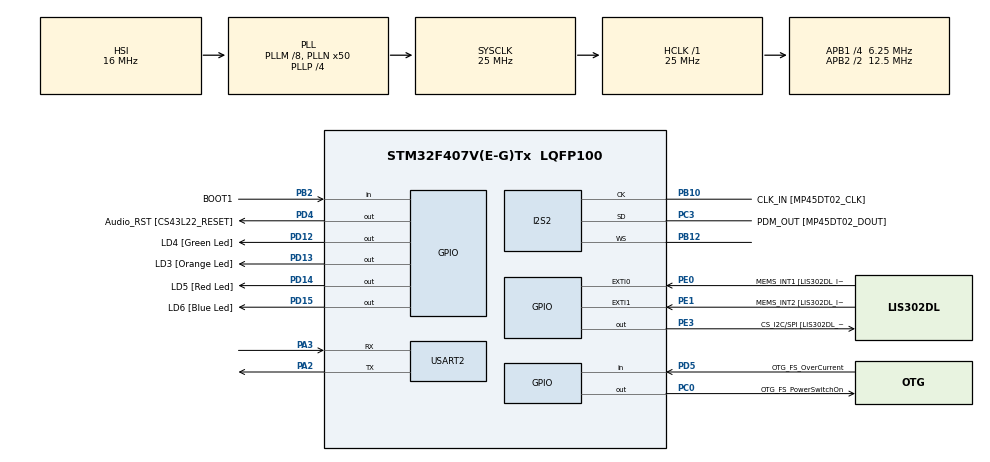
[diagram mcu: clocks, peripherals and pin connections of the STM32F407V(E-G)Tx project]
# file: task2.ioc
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I2S2.AudioFreq=I2S_AUDIOFREQ_192K
I2S2.ErrorAudioFreq=0.8 %
I2S2.Mode=I2S_MODE_MASTER_RX
I2S2.RealAudioFreq=193.548 KHz
Mcu.Family=STM32F4
Mcu.Name=STM32F407V(E-G)Tx
Mcu.Package=LQFP100
NVIC.PriorityGroup=NVIC_PRIORITYGROUP_0
PA10.GPIO_Label=OTG_FS_ID
PA10.GPIO_Mode=GPIO_MODE_AF_PP
PA10.GPIO_PuPd=GPIO_NOPULL
PA10.GPIO_Speed=GPIO_SPEED_FREQ_LOW
PA10.Signal=USB_OTG_FS_ID
PA11.GPIO_Label=OTG_FS_DM
PA11.GPIO_Mode=GPIO_MODE_AF_PP
PA11.GPIO_PuPd=GPIO_NOPULL
PA11.GPIO_Speed=GPIO_SPEED_FREQ_LOW
PA11.Signal=USB_OTG_FS_DM
PA12.GPIO_Label=OTG_FS_DP
PA12.GPIO_Mode=GPIO_MODE_AF_PP
PA12.GPIO_PuPd=GPIO_NOPULL
PA12.GPIO_Speed=GPIO_SPEED_FREQ_LOW
PA12.Signal=USB_OTG_FS_DP
PA13.GPIO_Label=SWDIO
PA13.Signal=SYS_JTMS-SWDIO
PA14.GPIO_Label=SWCLK
PA14.Signal=SYS_JTCK-SWCLK
PA2.Mode=Asynchronous
PA2.Signal=USART2_TX
PA3.Mode=Asynchronous
PA3.Signal=USART2_RX
PA4.GPIO_Label=I2S3_WS [CS43L22_LRCK]
PA4.GPIO_Mode=GPIO_MODE_AF_PP
PA4.GPIO_PuPd=GPIO_NOPULL
PA4.GPIO_Speed=GPIO_SPEED_FREQ_LOW
PA4.Signal=I2S3_WS
PA5.GPIO_Label=SPI1_SCK [LIS302DL_SCL/SPC]
PA5.GPIO_Mode=GPIO_MODE_AF_PP
PA5.GPIO_PuPd=GPIO_NOPULL
PA5.GPIO_Speed=GPIO_SPEED_FREQ_LOW
PA5.Signal=SPI1_SCK
PA6.GPIO_Label=SPI1_MISO [LIS302DL_SDO]
PA6.GPIO_Mode=GPIO_MODE_AF_PP
PA6.GPIO_PuPd=GPIO_NOPULL
PA6.GPIO_Speed=GPIO_SPEED_FREQ_LOW
PA6.Signal=SPI1_MISO
PA7.GPIO_Label=SPI1_MOSI [LIS302DL_SDA/SDI/SDO]
PA7.GPIO_Mode=GPIO_MODE_AF_PP
PA7.GPIO_PuPd=GPIO_NOPULL
PA7.GPIO_Speed=GPIO_SPEED_FREQ_LOW
PA7.Signal=SPI1_MOSI
PA9.GPIO_Label=VBUS_FS
PA9.GPIO_Mode=GPIO_MODE_INPUT
PA9.GPIO_PuPd=GPIO_NOPULL
PA9.Signal=USB_OTG_FS_VBUS
PB10.GPIO_Label=CLK_IN [MP45DT02_CLK]
PB10.GPIO_Mode=GPIO_MODE_AF_PP
PB10.GPIO_PuPd=GPIO_NOPULL
PB10.GPIO_Speed=GPIO_SPEED_FREQ_LOW
PB10.Mode=Half_Duplex_Master
PB10.Signal=I2S2_CK
PB12.Mode=Half_Duplex_Master
PB12.Signal=I2S2_WS
PB2.GPIO_Label=BOOT1
PB2.GPIO_Mode=GPIO_MODE_INPUT
PB2.GPIO_PuPd=GPIO_NOPULL
PB2.Signal=GPIO_Input
PB3.GPIO_Label=SWO
PB3.Signal=SYS_JTDO-SWO
PB6.GPIO_Label=Audio_SCL [CS43L22_SCL]
PB6.GPIO_Mode=GPIO_MODE_AF_OD
PB6.GPIO_PuPd=GPIO_NOPULL
PB6.GPIO_Speed=GPIO_SPEED_FREQ_LOW
PB6.Signal=I2C1_SCL
PB9.GPIO_Label=Audio_SDA [CS43L22_SDA]
PB9.GPIO_Mode=GPIO_MODE_AF_OD
PB9.GPIO_PuPd=GPIO_NOPULL
PB9.GPIO_Speed=GPIO_SPEED_FREQ_LOW
PB9.Signal=I2C1_SDA
PC0.GPIO_Label=OTG_FS_PowerSwitchOn
PC0.GPIO_PuPd=GPIO_NOPULL
PC0.GPIO_Speed=GPIO_SPEED_FREQ_LOW
PC0.PinState=GPIO_PIN_SET
PC0.Signal=GPIO_Output
PC10.GPIO_Label=I2S3_SCK [CS43L22_SCLK]
PC10.GPIO_Mode=GPIO_MODE_AF_PP
PC10.GPIO_PuPd=GPIO_NOPULL
PC10.GPIO_Speed=GPIO_SPEED_FREQ_LOW
PC10.Signal=I2S3_CK
PC12.GPIO_Label=I2S3_SD [CS43L22_SDIN]
PC12.GPIO_Mode=GPIO_MODE_AF_PP
PC12.GPIO_PuPd=GPIO_NOPULL
PC12.GPIO_Speed=GPIO_SPEED_FREQ_LOW
PC12.Signal=I2S3_SD
PC14-OSC32_IN.GPIO_Label=PC14-OSC32_IN
PC14-OSC32_IN.Signal=RCC_OSC32_IN
PC15-OSC32_OUT.GPIO_Label=PC15-OSC32_OUT
PC15-OSC32_OUT.Signal=RCC_OSC32_OUT
PC3.GPIO_Label=PDM_OUT [MP45DT02_DOUT]
PC3.GPIO_Mode=GPIO_MODE_AF_PP
PC3.GPIO_PuPd=GPIO_NOPULL
PC3.GPIO_Speed=GPIO_SPEED_FREQ_LOW
PC3.Mode=Half_Duplex_Master
PC3.Signal=I2S2_SD
PC7.GPIO_Label=I2S3_MCK [CS43L22_MCLK]
PC7.GPIO_Mode=GPIO_MODE_AF_PP
PC7.GPIO_PuPd=GPIO_NOPULL
PC7.GPIO_Speed=GPIO_SPEED_FREQ_LOW
PC7.Signal=I2S3_MCK
PD12.GPIO_Label=LD4 [Green Led]
PD12.GPIO_PuPd=GPIO_NOPULL
PD12.GPIO_Speed=GPIO_SPEED_FREQ_LOW
PD12.Signal=GPIO_Output
PD13.GPIO_Label=LD3 [Orange Led]
PD13.GPIO_PuPd=GPIO_NOPULL
PD13.GPIO_Speed=GPIO_SPEED_FREQ_LOW
PD13.Signal=GPIO_Output
PD14.GPIO_Label=LD5 [Red Led]
PD14.GPIO_PuPd=GPIO_NOPULL
PD14.GPIO_Speed=GPIO_SPEED_FREQ_LOW
PD14.Signal=GPIO_Output
PD15.GPIO_Label=LD6 [Blue Led]
PD15.GPIO_PuPd=GPIO_NOPULL
PD15.GPIO_Speed=GPIO_SPEED_FREQ_LOW
PD15.Signal=GPIO_Output
PD4.GPIO_Label=Audio_RST [CS43L22_RESET]
PD4.GPIO_PuPd=GPIO_NOPULL
PD4.GPIO_Speed=GPIO_SPEED_FREQ_LOW
PD4.Signal=GPIO_Output
PD5.GPIO_Label=OTG_FS_OverCurrent
PD5.GPIO_Mode=GPIO_MODE_INPUT
PD5.GPIO_PuPd=GPIO_NOPULL
PD5.Signal=GPIO_Input
PE0.GPIO_Label=MEMS_INT1 [LIS302DL_INT1]
PE0.Signal=GPXTI0
PE1.GPIO_Label=MEMS_INT2 [LIS302DL_INT2]
PE1.GPIO_ModeDefaultEXTI=GPIO_MODE_EVT_RISING
PE1.GPIO_PuPd=GPIO_NOPULL
PE1.Signal=GPXTI1
PE3.GPIO_Label=CS_I2C/SPI [LIS302DL_CS_I2C/SPI]
PE3.GPIO_PuPd=GPIO_NOPULL
PE3.GPIO_Speed=GPIO_SPEED_FREQ_LOW
PE3.Signal=GPIO_Output
PH0-OSC_IN.GPIO_Label=PH0-OSC_IN
PH0-OSC_IN.Signal=RCC_OSC_IN
PH1-OSC_OUT.GPIO_Label=PH1-OSC_OUT
PH1-OSC_OUT.Signal=RCC_OSC_OUT
ProjectManager.HeapSize=0x200
ProjectManager.StackSize=0x400
ProjectManager.TargetToolchain=SW4STM32
RCC.48MHZClocksFreq_Value=14285714.285714285
RCC.AHBFreq_Value=25000000
RCC.APB1CLKDivider=RCC_HCLK_DIV4
RCC.APB1Freq_Value=6250000
RCC.APB1TimFreq_Value=12500000
RCC.APB2CLKDivider=RCC_HCLK_DIV2
RCC.APB2Freq_Value=12500000
RCC.APB2TimFreq_Value=25000000
RCC.CortexFreq_Value=25000000
RCC.HCLKFreq_Value=25000000
RCC.HSE_VALUE=8000000
RCC.HSI_VALUE=16000000
RCC.LSE_VALUE=32768
RCC.PLLM=8
RCC.PLLN=50
RCC.PLLP=RCC_PLLP_DIV4
RCC.PLLQ=7
RCC.SYSCLKFreq_VALUE=25000000
RCC.SYSCLKSource=RCC_SYSCLKSOURCE_PLLCLK
RCC.VCOOutputFreq_Value=100000000
board=STM32F407G-DISC1

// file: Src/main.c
/**
  ******************************************************************************
  * File Name          : main.c
  * Description        : Main program body
  ******************************************************************************
  *
  * COPYRIGHT(c) 2016 STMicroelectronics
  *
  * Redistribution and use in source and binary forms, with or without modification,
  * are permitted provided that the following conditions are met:
  *   1. Redistributions of source code must retain the above copyright notice,
  *      this list of conditions and the following disclaimer.
  *   2. Redistributions in binary form must reproduce the above copyright notice,
  *      this list of conditions and the following disclaimer in the documentation
  *      and/or other materials provided with the distribution.
  *   3. Neither the name of STMicroelectronics nor the names of its contributors
  *      may be used to endorse or promote products derived from this software
  *      without specific prior written permission.
  *
  * THIS SOFTWARE IS PROVIDED BY THE COPYRIGHT HOLDERS AND CONTRIBUTORS "AS IS"
  * AND ANY EXPRESS OR IMPLIED WARRANTIES, INCLUDING, BUT NOT LIMITED TO, THE
  * IMPLIED WARRANTIES OF MERCHANTABILITY AND FITNESS FOR A PARTICULAR PURPOSE ARE
  * DISCLAIMED. IN NO EVENT SHALL THE COPYRIGHT HOLDER OR CONTRIBUTORS BE LIABLE
  * FOR ANY DIRECT, INDIRECT, INCIDENTAL, SPECIAL, EXEMPLARY, OR CONSEQUENTIAL
  * DAMAGES (INCLUDING, BUT NOT LIMITED TO, PROCUREMENT OF SUBSTITUTE GOODS OR
  * SERVICES; LOSS OF USE, DATA, OR PROFITS; OR BUSINESS INTERRUPTION) HOWEVER
  * CAUSED AND ON ANY THEORY OF LIABILITY, WHETHER IN CONTRACT, STRICT LIABILITY,
  * OR TORT (INCLUDING NEGLIGENCE OR OTHERWISE) ARISING IN ANY WAY OUT OF THE USE
  * OF THIS SOFTWARE, EVEN IF ADVISED OF THE POSSIBILITY OF SUCH DAMAGE.
  *
  ******************************************************************************
  */
#include "main.h"
#include "stm32f4xx_hal.h"

I2S_HandleTypeDef hi2s2;

UART_HandleTypeDef huart2;

/* USER CODE BEGIN PV */
/* Private variables ---------------------------------------------------------*/

/* USER CODE END PV */

void SystemClock_Config(void);
void Error_Handler(void);
static void MX_GPIO_Init(void);
static void MX_I2S2_Init(void);
static void MX_USART2_UART_Init(void);

/* USER CODE BEGIN PFP */
/* Private function prototypes -----------------------------------------------*/

/* USER CODE END PFP */

/* USER CODE BEGIN 0 */
#define PDM_BUFFER_SIZE 16
/* USER CODE END 0 */

int main(void)
{

  /* USER CODE BEGIN 1 */
	uint8_t i,j;

	uint16_t buffer[16];
	char display_buffer[16];

	uint16_t pdm_count;
	uint16_t bit_position;

	uint32_t start_time = HAL_GetTick();
	uint32_t cur_time;

  /* USER CODE END 1 */

  /* MCU Configuration----------------------------------------------------------*/

  /* Reset of all peripherals, Initializes the Flash interface and the Systick. */
  HAL_Init();

  /* Configure the system clock */
  SystemClock_Config();

  /* Initialize all configured peripherals */
  MX_GPIO_Init();
  MX_I2S2_Init();
  MX_USART2_UART_Init();

  /* Infinite loop */
  /* USER CODE BEGIN WHILE */
  while (1)
  {
  	HAL_I2S_Receive(&hi2s2, buffer, PDM_BUFFER_SIZE, 1000);
  /* USER CODE END WHILE */

  /* USER CODE BEGIN 3 */
  	pdm_count = 0;

		for(i=0; i<PDM_BUFFER_SIZE; i++) {
			bit_position = (1<<15);
			for(j=0; j<16; j++) {
				if(bit_position & buffer[i]) {
					pdm_count++;
				}
				bit_position >>= 1;
			}
		}

		if(pdm_count > 100) {
			HAL_GPIO_WritePin(GPIOD, GPIO_PIN_12, GPIO_PIN_SET);
			HAL_Delay(300);
		} else {
			HAL_GPIO_WritePin(GPIOD, GPIO_PIN_12, GPIO_PIN_RESET);
		}

		cur_time = HAL_GetTick();
		if(cur_time - start_time > 100){
			start_time = cur_time;
			sprintf(display_buffer, "Loud : %d\n", pdm_count);
			HAL_UART_Transmit(&huart2, (uint8_t*)display_buffer, strlen(display_buffer), 100);
		}
  }
  /* USER CODE END 3 */

}

/** System Clock Configuration
*/
void SystemClock_Config(void)
{

  RCC_OscInitTypeDef RCC_OscInitStruct;
  RCC_ClkInitTypeDef RCC_ClkInitStruct;
  RCC_PeriphCLKInitTypeDef PeriphClkInitStruct;

    /**Configure the main internal regulator output voltage
    */
  __HAL_RCC_PWR_CLK_ENABLE();

  __HAL_PWR_VOLTAGESCALING_CONFIG(PWR_REGULATOR_VOLTAGE_SCALE1);

    /**Initializes the CPU, AHB and APB busses clocks
    */
  RCC_OscInitStruct.OscillatorType = RCC_OSCILLATORTYPE_HSI;
  RCC_OscInitStruct.HSIState = RCC_HSI_ON;
  RCC_OscInitStruct.HSICalibrationValue = 16;
  RCC_OscInitStruct.PLL.PLLState = RCC_PLL_ON;
  RCC_OscInitStruct.PLL.PLLSource = RCC_PLLSOURCE_HSI;
  RCC_OscInitStruct.PLL.PLLM = 8;
  RCC_OscInitStruct.PLL.PLLN = 50;
  RCC_OscInitStruct.PLL.PLLP = RCC_PLLP_DIV4;
  RCC_OscInitStruct.PLL.PLLQ = 7;
  if (HAL_RCC_OscConfig(&RCC_OscInitStruct) != HAL_OK)
  {
    Error_Handler();
  }

    /**Initializes the CPU, AHB and APB busses clocks
    */
  RCC_ClkInitStruct.ClockType = RCC_CLOCKTYPE_HCLK|RCC_CLOCKTYPE_SYSCLK
                              |RCC_CLOCKTYPE_PCLK1|RCC_CLOCKTYPE_PCLK2;
  RCC_ClkInitStruct.SYSCLKSource = RCC_SYSCLKSOURCE_PLLCLK;
  RCC_ClkInitStruct.AHBCLKDivider = RCC_SYSCLK_DIV1;
  RCC_ClkInitStruct.APB1CLKDivider = RCC_HCLK_DIV4;
  RCC_ClkInitStruct.APB2CLKDivider = RCC_HCLK_DIV2;

  if (HAL_RCC_ClockConfig(&RCC_ClkInitStruct, FLASH_LATENCY_0) != HAL_OK)
  {
    Error_Handler();
  }

  PeriphClkInitStruct.PeriphClockSelection = RCC_PERIPHCLK_I2S;
  PeriphClkInitStruct.PLLI2S.PLLI2SN = 192;
  PeriphClkInitStruct.PLLI2S.PLLI2SR = 2;
  if (HAL_RCCEx_PeriphCLKConfig(&PeriphClkInitStruct) != HAL_OK)
  {
    Error_Handler();
  }

    /**Configure the Systick interrupt time
    */
  HAL_SYSTICK_Config(HAL_RCC_GetHCLKFreq()/1000);

    /**Configure the Systick
    */
  HAL_SYSTICK_CLKSourceConfig(SYSTICK_CLKSOURCE_HCLK);

  /* SysTick_IRQn interrupt configuration */
  HAL_NVIC_SetPriority(SysTick_IRQn, 0, 0);
}

/* I2S2 init function */
static void MX_I2S2_Init(void)
{

  hi2s2.Instance = SPI2;
  hi2s2.Init.Mode = I2S_MODE_MASTER_RX;
  hi2s2.Init.Standard = I2S_STANDARD_PHILIPS;
  hi2s2.Init.DataFormat = I2S_DATAFORMAT_16B;
  hi2s2.Init.MCLKOutput = I2S_MCLKOUTPUT_DISABLE;
  hi2s2.Init.AudioFreq = I2S_AUDIOFREQ_192K;
  hi2s2.Init.CPOL = I2S_CPOL_LOW;
  hi2s2.Init.ClockSource = I2S_CLOCK_PLL;
  hi2s2.Init.FullDuplexMode = I2S_FULLDUPLEXMODE_DISABLE;
  if (HAL_I2S_Init(&hi2s2) != HAL_OK)
  {
    Error_Handler();
  }

}

/* USART2 init function */
static void MX_USART2_UART_Init(void)
{

  huart2.Instance = USART2;
  huart2.Init.BaudRate = 115200;
  huart2.Init.WordLength = UART_WORDLENGTH_8B;
  huart2.Init.StopBits = UART_STOPBITS_1;
  huart2.Init.Parity = UART_PARITY_NONE;
  huart2.Init.Mode = UART_MODE_TX_RX;
  huart2.Init.HwFlowCtl = UART_HWCONTROL_NONE;
  huart2.Init.OverSampling = UART_OVERSAMPLING_16;
  if (HAL_UART_Init(&huart2) != HAL_OK)
  {
    Error_Handler();
  }

}

/** Configure pins as
        * Analog
        * Input
        * Output
        * EVENT_OUT
        * EXTI
     PA4   ------> I2S3_WS
     PA5   ------> SPI1_SCK
     PA6   ------> SPI1_MISO
     PA7   ------> SPI1_MOSI
     PC7   ------> I2S3_MCK
     PA9   ------> USB_OTG_FS_VBUS
     PA10   ------> USB_OTG_FS_ID
     PA11   ------> USB_OTG_FS_DM
     PA12   ------> USB_OTG_FS_DP
     PC10   ------> I2S3_CK
     PC12   ------> I2S3_SD
     PB6   ------> I2C1_SCL
     PB9   ------> I2C1_SDA
*/
static void MX_GPIO_Init(void)
{

  GPIO_InitTypeDef GPIO_InitStruct;

  /* GPIO Ports Clock Enable */
  __HAL_RCC_GPIOE_CLK_ENABLE();
  __HAL_RCC_GPIOC_CLK_ENABLE();
  __HAL_RCC_GPIOH_CLK_ENABLE();
  __HAL_RCC_GPIOA_CLK_ENABLE();
  __HAL_RCC_GPIOB_CLK_ENABLE();
  __HAL_RCC_GPIOD_CLK_ENABLE();

  /*Configure GPIO pin Output Level */
  HAL_GPIO_WritePin(CS_I2C_SPI_GPIO_Port, CS_I2C_SPI_Pin, GPIO_PIN_RESET);

  /*Configure GPIO pin Output Level */
  HAL_GPIO_WritePin(OTG_FS_PowerSwitchOn_GPIO_Port, OTG_FS_PowerSwitchOn_Pin, GPIO_PIN_SET);

  /*Configure GPIO pin Output Level */
  HAL_GPIO_WritePin(GPIOD, LD4_Pin|LD3_Pin|LD5_Pin|LD6_Pin
                          |Audio_RST_Pin, GPIO_PIN_RESET);

  /*Configure GPIO pin : CS_I2C_SPI_Pin */
  GPIO_InitStruct.Pin = CS_I2C_SPI_Pin;
  GPIO_InitStruct.Mode = GPIO_MODE_OUTPUT_PP;
  GPIO_InitStruct.Pull = GPIO_NOPULL;
  GPIO_InitStruct.Speed = GPIO_SPEED_FREQ_LOW;
  HAL_GPIO_Init(CS_I2C_SPI_GPIO_Port, &GPIO_InitStruct);

  /*Configure GPIO pin : OTG_FS_PowerSwitchOn_Pin */
  GPIO_InitStruct.Pin = OTG_FS_PowerSwitchOn_Pin;
  GPIO_InitStruct.Mode = GPIO_MODE_OUTPUT_PP;
  GPIO_InitStruct.Pull = GPIO_NOPULL;
  GPIO_InitStruct.Speed = GPIO_SPEED_FREQ_LOW;
  HAL_GPIO_Init(OTG_FS_PowerSwitchOn_GPIO_Port, &GPIO_InitStruct);

  /*Configure GPIO pin : PA4 */
  GPIO_InitStruct.Pin = GPIO_PIN_4;
  GPIO_InitStruct.Mode = GPIO_MODE_AF_PP;
  GPIO_InitStruct.Pull = GPIO_NOPULL;
  GPIO_InitStruct.Speed = GPIO_SPEED_FREQ_LOW;
  GPIO_InitStruct.Alternate = GPIO_AF6_SPI3;
  HAL_GPIO_Init(GPIOA, &GPIO_InitStruct);

  /*Configure GPIO pins : PA5 PA6 PA7 */
  GPIO_InitStruct.Pin = GPIO_PIN_5|GPIO_PIN_6|GPIO_PIN_7;
  GPIO_InitStruct.Mode = GPIO_MODE_AF_PP;
  GPIO_InitStruct.Pull = GPIO_NOPULL;
  GPIO_InitStruct.Speed = GPIO_SPEED_FREQ_LOW;
  GPIO_InitStruct.Alternate = GPIO_AF5_SPI1;
  HAL_GPIO_Init(GPIOA, &GPIO_InitStruct);

  /*Configure GPIO pin : BOOT1_Pin */
  GPIO_InitStruct.Pin = BOOT1_Pin;
  GPIO_InitStruct.Mode = GPIO_MODE_INPUT;
  GPIO_InitStruct.Pull = GPIO_NOPULL;
  HAL_GPIO_Init(BOOT1_GPIO_Port, &GPIO_InitStruct);

  /*Configure GPIO pins : LD4_Pin LD3_Pin LD5_Pin LD6_Pin
                           Audio_RST_Pin */
  GPIO_InitStruct.Pin = LD4_Pin|LD3_Pin|LD5_Pin|LD6_Pin
                          |Audio_RST_Pin;
  GPIO_InitStruct.Mode = GPIO_MODE_OUTPUT_PP;
  GPIO_InitStruct.Pull = GPIO_NOPULL;
  GPIO_InitStruct.Speed = GPIO_SPEED_FREQ_LOW;
  HAL_GPIO_Init(GPIOD, &GPIO_InitStruct);

  /*Configure GPIO pins : PC7 I2S3_SCK_Pin PC12 */
  GPIO_InitStruct.Pin = GPIO_PIN_7|I2S3_SCK_Pin|GPIO_PIN_12;
  GPIO_InitStruct.Mode = GPIO_MODE_AF_PP;
  GPIO_InitStruct.Pull = GPIO_NOPULL;
  GPIO_InitStruct.Speed = GPIO_SPEED_FREQ_LOW;
  GPIO_InitStruct.Alternate = GPIO_AF6_SPI3;
  HAL_GPIO_Init(GPIOC, &GPIO_InitStruct);

  /*Configure GPIO pin : VBUS_FS_Pin */
  GPIO_InitStruct.Pin = VBUS_FS_Pin;
  GPIO_InitStruct.Mode = GPIO_MODE_INPUT;
  GPIO_InitStruct.Pull = GPIO_NOPULL;
  HAL_GPIO_Init(VBUS_FS_GPIO_Port, &GPIO_InitStruct);

  /*Configure GPIO pins : OTG_FS_ID_Pin OTG_FS_DM_Pin OTG_FS_DP_Pin */
  GPIO_InitStruct.Pin = OTG_FS_ID_Pin|OTG_FS_DM_Pin|OTG_FS_DP_Pin;
  GPIO_InitStruct.Mode = GPIO_MODE_AF_PP;
  GPIO_InitStruct.Pull = GPIO_NOPULL;
  GPIO_InitStruct.Speed = GPIO_SPEED_FREQ_LOW;
  GPIO_InitStruct.Alternate = GPIO_AF10_OTG_FS;
  HAL_GPIO_Init(GPIOA, &GPIO_InitStruct);

  /*Configure GPIO pin : OTG_FS_OverCurrent_Pin */
  GPIO_InitStruct.Pin = OTG_FS_OverCurrent_Pin;
  GPIO_InitStruct.Mode = GPIO_MODE_INPUT;
  GPIO_InitStruct.Pull = GPIO_NOPULL;
  HAL_GPIO_Init(OTG_FS_OverCurrent_GPIO_Port, &GPIO_InitStruct);

  /*Configure GPIO pins : Audio_SCL_Pin Audio_SDA_Pin */
  GPIO_InitStruct.Pin = Audio_SCL_Pin|Audio_SDA_Pin;
  GPIO_InitStruct.Mode = GPIO_MODE_AF_OD;
  GPIO_InitStruct.Pull = GPIO_PULLUP;
  GPIO_InitStruct.Speed = GPIO_SPEED_FREQ_LOW;
  GPIO_InitStruct.Alternate = GPIO_AF4_I2C1;
  HAL_GPIO_Init(GPIOB, &GPIO_InitStruct);

  /*Configure GPIO pin : MEMS_INT1_Pin */
  GPIO_InitStruct.Pin = MEMS_INT1_Pin;
  GPIO_InitStruct.Mode = GPIO_MODE_IT_RISING;
  GPIO_InitStruct.Pull = GPIO_NOPULL;
  HAL_GPIO_Init(MEMS_INT1_GPIO_Port, &GPIO_InitStruct);

  /*Configure GPIO pin : MEMS_INT2_Pin */
  GPIO_InitStruct.Pin = MEMS_INT2_Pin;
  GPIO_InitStruct.Mode = GPIO_MODE_EVT_RISING;
  GPIO_InitStruct.Pull = GPIO_NOPULL;
  HAL_GPIO_Init(MEMS_INT2_GPIO_Port, &GPIO_InitStruct);

}

void Error_Handler(void)
{
  while(1)
  {
  }
}

/************************ (C) COPYRIGHT STMicroelectronics *****END OF FILE****/
